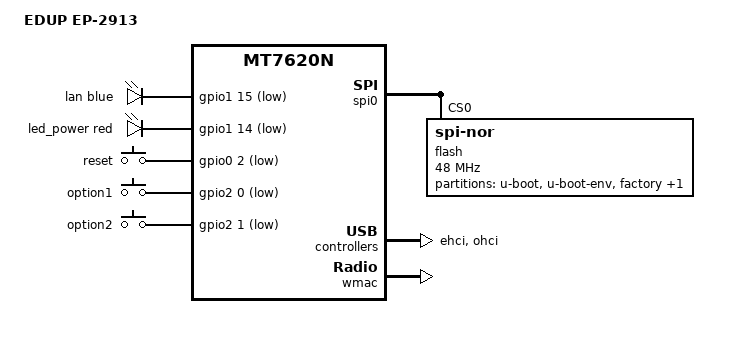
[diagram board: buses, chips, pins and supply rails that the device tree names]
#include "mt7620n.dtsi"

#include <dt-bindings/gpio/gpio.h>
#include <dt-bindings/input/input.h>
#include <dt-bindings/leds/common.h>

/ {
	compatible = "edup,ep-2913", "ralink,mt7620n-soc";
	model = "EDUP EP-2913";

	aliases {
		led-boot = &led_power;
		led-failsafe = &led_power;
		led-running = &led_power;
		led-upgrade = &led_power;
	};

	chosen {
		bootargs = "console=ttyS0,57600";
	};

	leds {
		compatible = "gpio-leds";

		lan {
			function = LED_FUNCTION_LAN;
			color = <LED_COLOR_ID_BLUE>;
			gpios = <&gpio1 15 GPIO_ACTIVE_LOW>;
		};

		led_power: power {
			function = LED_FUNCTION_POWER;
			color = <LED_COLOR_ID_RED>;
			gpios = <&gpio1 14 GPIO_ACTIVE_LOW>;
		};
	};

	keys {
		compatible = "gpio-keys";

		reset {
			label = "reset";
			gpios = <&gpio0 2 GPIO_ACTIVE_LOW>;
			linux,code = <KEY_RESTART>;
		};

		// Switch near the leds
		option1 {
			label = "option1";
			gpios = <&gpio2 0 GPIO_ACTIVE_LOW>;
			linux,code = <KEY_RESTART>;
		};

		// Switch in the middle position 
		option2 {
			label = "option2";
			gpios = <&gpio2 1 GPIO_ACTIVE_LOW>;
			linux,code = <KEY_RESTART>;
		};
	};
};

&gpio1 {
	status = "okay";
};

&gpio2 {
	status = "okay";
};

&gpio3 {
	status = "okay";
};

&spi0 {
	status = "okay";

	// Stock flash mx25l3205d (4096 Kbytes) wont hold the latest OpenWrt image.
	// The only solution is to replace it with a bigger one, e.g. W25Q64 (8192 Kbytes).
	// You need to manually copy the first 0x50000 bytes (Bootloader) to the new flash,
	// then flash the sysupgrade.bin to address 0x50000.
	flash@0 {
		compatible = "jedec,spi-nor";
		reg = <0>;
		spi-max-frequency = <48000000>;

		partitions {
			compatible = "fixed-partitions";
			#address-cells = <1>;
			#size-cells = <1>;

			partition@0 {
				label = "u-boot";
				reg = <0x0 0x30000>;
				read-only;
			};

			partition@30000 {
				label = "u-boot-env";
				reg = <0x30000 0x10000>;
				read-only;
			};

			partition@40000 {
				label = "factory";
				reg = <0x40000 0x10000>;
				read-only;

				nvmem-layout {
					compatible = "fixed-layout";
					#address-cells = <1>;
					#size-cells = <1>;

					eeprom_factory_0: eeprom@0 {
						reg = <0x0 0x200>;
					};

					macaddr_factory_4: macaddr@4 {
						reg = <0x4 0x6>;
					};
				};
			};

			partition@50000 {
				compatible = "denx,uimage";
				label = "firmware";
				reg = <0x50000 0x7b0000>;
			};
		};
	};
};

// The USB jack is not populated by default.
// You need to solder one,
// then connect the USB power pin to 5V
// by shorting the two pins of U??? near the USB jack.
&ehci {
	status = "okay";
};

&ohci {
	status = "okay";
};

&ethernet {
	nvmem-cells = <&macaddr_factory_4>;
	nvmem-cell-names = "mac-address";

	mediatek,portmap = "xxxxl";
};

&wmac {
	nvmem-cells = <&eeprom_factory_0>;
	nvmem-cell-names = "eeprom";
};

&state_default {
	default {
		groups = "ephy", "wled", "i2c", "wdt", "pa", "spi refclk";
		function = "gpio";
	};
};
